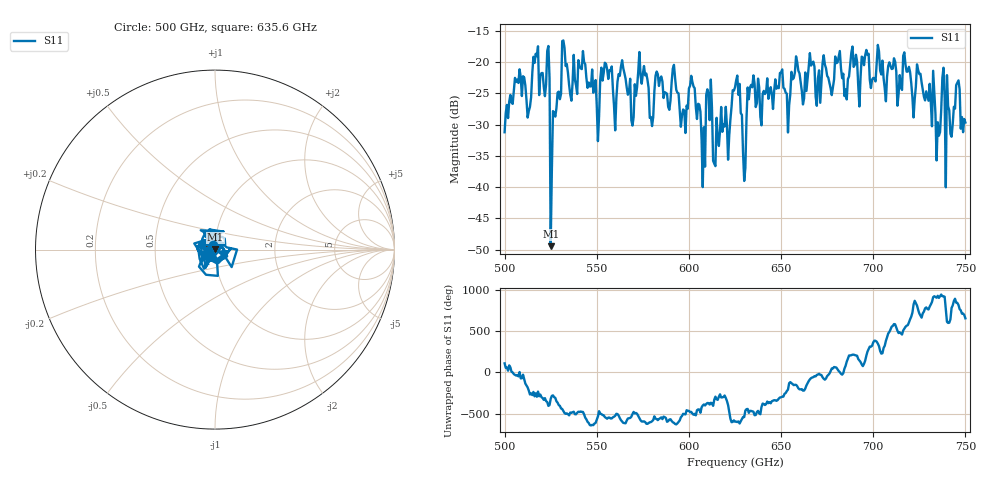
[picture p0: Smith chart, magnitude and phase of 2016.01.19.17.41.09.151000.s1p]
!Created with skrf (http://scikit-rf.org).
# GHz S RI R 50.0
!freq ReS11 ImS11
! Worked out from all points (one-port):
!   401 points, 500 GHz to 750 GHz, reference 50 ohm
!   lowest |S11| = -49.5 dB at 525 GHz (marker M1), VSWR 1.01, Z = 50.3 + j0.209 ohm
!   |S11| at or under -10 dB: start of sweep to end of sweep
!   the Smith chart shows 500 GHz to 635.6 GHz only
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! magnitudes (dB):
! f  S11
! 500 GHz  -31.2
! 506.9 GHz  -22.8
! 513.1 GHz  -27.8
! 516.9 GHz  -18.7
! 523.1 GHz  -18.2
! 525 GHz  -49.5
! 526.2 GHz  -27.8
! 531.2 GHz  -16.6
! 550 GHz  -27.0
! 562.5 GHz  -22.2
! 570 GHz  -28.8
! 574.4 GHz  -23.5
! 579.4 GHz  -28.8
! 583.1 GHz  -21.9
! 593.8 GHz  -24.9
! 601.9 GHz  -23.2
! 607.5 GHz  -40.0
! 610.6 GHz  -25.1
! 614.4 GHz  -36.7
! 625 GHz  -24.0
! 630 GHz  -39.0
! 634.4 GHz  -24.0
! 656.2 GHz  -22.8
! 687.5 GHz  -20.4
! 718.8 GHz  -21.5
! 735 GHz  -29.6
! 745.6 GHz  -23.3
! 750 GHz  -29.7
